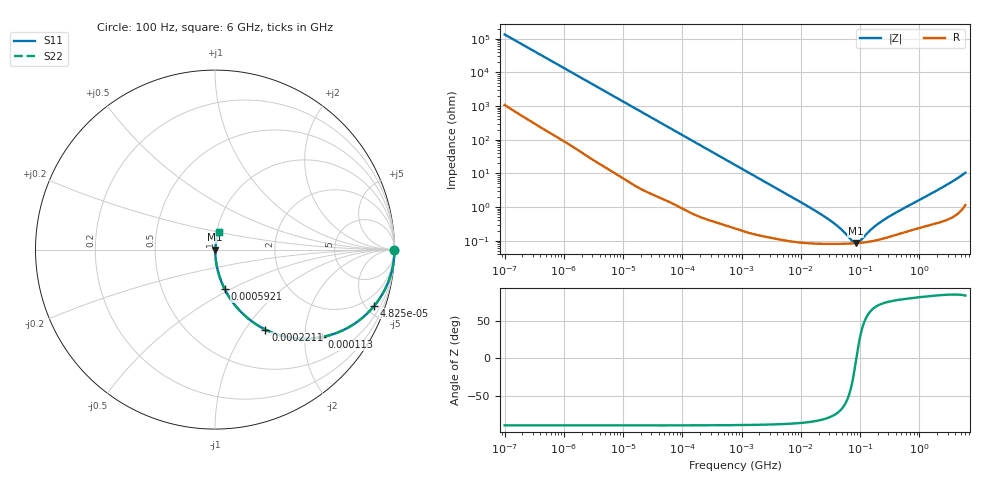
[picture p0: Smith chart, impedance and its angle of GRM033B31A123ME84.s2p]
!Murata Part Number: GRM033B31A123ME84
!These Parameters are Measured in Series Mode Connection
!Data Generated on Mar 30, 2021
!  o--ll--o
!Port1  Port2
!  o------o
!Operation Temp=25[degC], DC Bias Voltage=0[V]
!Freq. Start=100[Hz] Stop=6[GHz] 401[Steps]
# Hz S RI R 50
!Freq.(Hz) S11(Real) S11(Imag) S21(Real) S21(Imag) S12(Real) S12(Imag) S22(Real) S22(Imag)
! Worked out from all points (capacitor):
!   401 points, 100 Hz to 6 GHz, reference 50 ohm
!   read as one part in series: C = 11.9 nF near 109 Hz
!   lowest |Z| = 84.2 mohm at 85.28 MHz (marker M1)
!   series resonance near 86.68 MHz, so ESL is about 280 pH
!   S11 on the Smith chart (normalised r, x): 100 Hz: open; 48.25 kHz: 1.03, -5.67; 113 kHz: 1.02, -2.43; 221.1 kHz: 1.01, -1.24; 592.1 kHz: 1.01, -0.47; 6 GHz: 1.02, +0.21
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100  1 -0.000748  6.6e-06 0.000748  6.6e-06 0.000748  1 -0.000748
2008  0.9997 -0.0148  0.00031 0.0148  0.00031 0.0148  0.9997 -0.0148
12041  0.9918 -0.0876  0.00819 0.0876  0.00819 0.0876  0.9918 -0.0876
40335  0.9186 -0.2706  0.0814 0.2706  0.0814 0.2706  0.9186 -0.2706
48246  0.8879 -0.3125  0.1121 0.3125  0.1121 0.3125  0.8879 -0.3125
72189  0.7812 -0.4102  0.2188 0.4102  0.2188 0.4102  0.7812 -0.4102
112960  0.5955 -0.4875  0.4045 0.4875  0.4045 0.4875  0.5955 -0.4875
221108  0.2805 -0.4455  0.7195 0.4455  0.7195 0.4455  0.2805 -0.4455
345986  0.1391 -0.3415  0.8609 0.3415  0.8609 0.3415  0.1391 -0.3415
592111  0.0539 -0.2201  0.9461 0.2201  0.9461 0.2201  0.0539 -0.2201
774597  0.033 -0.1723  0.967 0.1723  0.967 0.1723  0.033 -0.1723
2481164  0.00444 -0.0558  0.9956 0.0558  0.9956 0.0558  0.00444 -0.0558
1.555665e7  0.000901 -0.00875  0.9991 0.00875  0.9991 0.00875  0.000901 -0.00875
3.64232e7  0.00081 -0.00318  0.9992 0.00318  0.9992 0.00318  0.00081 -0.00318
4.983056e7  0.000809 -0.00189  0.9992 0.00189  0.9992 0.00189  0.000809 -0.00189
7.455971e7  0.000828 -0.000488  0.9992 0.000488  0.9992 0.000488  0.000828 -0.000488
8.527865e7  0.00084 -5.18e-05  0.9992 5.18e-05  0.9992 5.18e-05  0.00084 -5.18e-05
9.753859e7  0.000856 0.000382  0.9991 -0.000382  0.9991 -0.000382  0.000856 0.000382
1.825626e8  0.00102 0.00258  0.999 -0.00258  0.999 -0.00258  0.00102 0.00258
3.124326e8  0.00132 0.00509  0.9987 -0.00509  0.9987 -0.00509  0.00132 0.00509
2.048624e9  0.00436 0.0317  0.9956 -0.0317  0.9956 -0.0317  0.00436 0.0317
6e9  0.0217 0.1007  0.9783 -0.1007  0.9783 -0.1007  0.0217 0.1007
